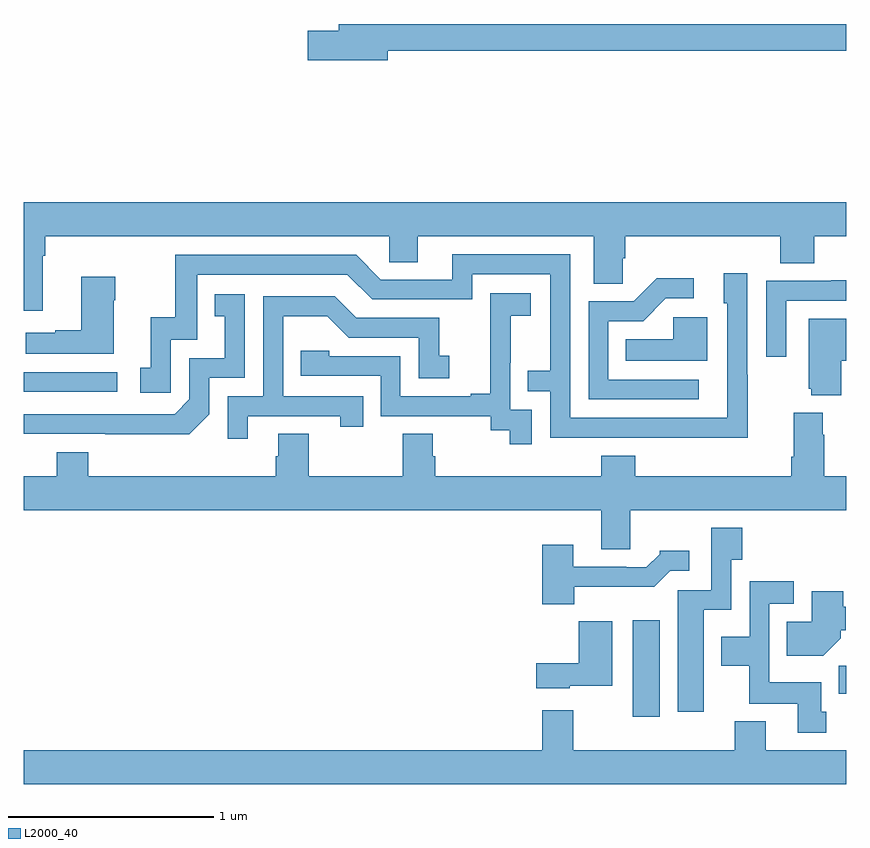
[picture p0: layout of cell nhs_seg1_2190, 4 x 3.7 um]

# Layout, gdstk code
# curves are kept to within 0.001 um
import gdstk
lib = gdstk.Library(unit=1e-6, precision=1e-09)
def R(c, l, rs):  # rectangles x0, y0, x1, y1
    for r in rs: c.add(gdstk.rectangle(r[:2], r[2:], *l))
def P(c, l, *ps):  # polygons
    for p in ps: c.add(gdstk.Polygon(p, *l))
L2000_40 = (2000, 40)

nhs_seg1_2190 = lib.new_cell('nhs_seg1_2190')
R(nhs_seg1_2190, L2000_40, [(231.962,574.704,232.093,575.173), (232.964,574.814,233,574.952), (229,576.282,229.456,576.378)])
P(nhs_seg1_2190, L2000_40, [(230.77,577.942),(233,577.942),(233,578.071),(230.531,578.071),(230.531,578.037),(230.382,578.037),(230.382,577.895),(230.77,577.895)],
  [(229.093,576.944),(229.106,576.944),(229.106,577.04),(230.778,577.04),(230.778,576.913),(230.917,576.913),(230.917,577.04),(231.773,577.04),(231.773,576.808),(231.912,576.808),(231.912,576.931),(231.926,576.931),(231.926,577.04),(232.679,577.04),(232.679,576.907),(232.844,576.907),(232.844,577.04),(233,577.04),(233,577.204),(229,577.204),(229,576.678),(229.093,576.678)],
  [(232.521,576.365),(232.518,576.365),(232.518,576.859),(232.403,576.859),(232.403,576.714),(232.422,576.714),(232.421,576.156),(231.657,576.156),(231.657,576.951),(231.083,576.951),(231.083,576.828),(230.736,576.828),(230.616,576.948),(229.737,576.948),(229.737,576.646),(229.619,576.646),(229.619,576.399),(229.566,576.399),(229.566,576.279),(229.716,576.279),(229.716,576.537),(229.845,576.537),(229.845,576.852),(230.574,576.852),(230.694,576.732),(231.18,576.732),(231.18,576.855),(231.561,576.855),(231.561,576.386),(231.451,576.386),(231.451,576.285),(231.561,576.285),(231.561,576.06),(232.521,576.059)],
  [(229.438,576.728),(229.446,576.728),(229.446,576.841),(229.28,576.841),(229.28,576.581),(229.154,576.581),(229.154,576.571),(229.011,576.571),(229.011,576.467),(229.438,576.467)],
  [(232.282,576.342),(231.843,576.342),(231.843,576.627),(232.012,576.627),(232.123,576.738),(232.258,576.738),(232.258,576.836),(232.079,576.836),(231.966,576.723),(231.747,576.723),(231.747,576.246),(232.282,576.246)],
  [(232.707,576.726),(233,576.726),(233,576.824),(232.927,576.824),(232.927,576.822),(232.611,576.822),(232.611,576.453),(232.707,576.453)],
  [(231.471,576.195),(231.366,576.195),(231.366,576.425),(231.368,576.425),(231.368,576.653),(231.466,576.653),(231.466,576.763),(231.268,576.763),(231.268,576.557),(231.269,576.557),(231.269,576.274),(231.173,576.274),(231.173,576.261),(230.832,576.261),(230.832,576.456),(230.487,576.456),(230.487,576.483),(230.347,576.483),(230.347,576.36),(230.736,576.36),(230.736,576.165),(231.27,576.165),(231.27,576.097),(231.363,576.097),(231.363,576.027),(231.471,576.027)],
  [(229.902,576.174),(229.902,576.351),(230.076,576.351),(230.076,576.757),(229.93,576.757),(229.93,576.651),(229.979,576.651),(229.979,576.447),(229.806,576.447),(229.806,576.246),(229.734,576.174),(229,576.174),(229,576.078),(229.804,576.077)],
  [(230.089,576.165),(230.54,576.165),(230.54,576.114),(230.651,576.114),(230.651,576.261),(230.262,576.261),(230.262,576.65),(230.476,576.65),(230.58,576.546),(230.922,576.546),(230.922,576.348),(231.07,576.348),(231.07,576.457),(231.021,576.457),(231.021,576.642),(230.617,576.642),(230.512,576.747),(230.166,576.747),(230.166,576.261),(229.992,576.261),(229.992,576.054),(230.089,576.054)],
  [(232.324,576.646),(232.159,576.646),(232.159,576.538),(231.928,576.538),(231.928,576.434),(232.324,576.434)],
  [(232.975,576.434),(233,576.434),(233,576.637),(232.817,576.637),(232.817,576.297),(232.829,576.297),(232.829,576.266),(232.975,576.266)],
  [(231.949,575.708),(233,575.708),(233,575.872),(232.893,575.872),(232.893,576.074),(232.885,576.074),(232.885,576.181),(232.745,576.181),(232.745,575.968),(232.733,575.968),(232.733,575.872),(231.974,575.872),(231.974,575.971),(231.809,575.971),(231.809,575.872),(231.002,575.872),(231.002,575.97),(230.989,575.97),(230.989,576.08),(230.842,576.08),(230.842,575.872),(230.385,575.872),(230.385,576.08),(230.237,576.08),(230.237,575.97),(230.225,575.97),(230.225,575.872),(229.313,575.872),(229.313,575.989),(229.16,575.989),(229.16,575.872),(229,575.872),(229,575.708),(231.809,575.708),(231.809,575.518),(231.949,575.518)],
  [(232.306,575.222),(232.44,575.222),(232.44,575.467),(232.493,575.467),(232.493,575.623),(232.344,575.623),(232.344,575.319),(232.181,575.319),(232.181,574.728),(232.306,574.728)],
  [(231.676,575.334),(232.065,575.334),(232.143,575.412),(232.237,575.412),(232.237,575.509),(232.092,575.509),(232.092,575.494),(232.028,575.43),(231.929,575.43),(231.929,575.433),(231.673,575.433),(231.673,575.539),(231.521,575.539),(231.521,575.249),(231.676,575.249)],
  [(232.903,574.728),(232.879,574.728),(232.879,574.87),(232.626,574.87),(232.626,575.253),(232.744,575.253),(232.744,575.362),(232.53,575.362),(232.53,575.092),(232.391,575.092),(232.391,574.952),(232.528,574.952),(232.528,574.766),(232.763,574.766),(232.763,574.626),(232.903,574.626)],
  [(232.972,575.085),(232.972,575.124),(232.998,575.124),(232.998,575.238),(232.985,575.238),(232.985,575.314),(232.832,575.314),(232.832,575.164),(232.711,575.164),(232.711,575),(232.888,575)],
  [(231.654,574.853),(231.862,574.853),(231.862,575.167),(231.7,575.167),(231.7,574.963),(231.492,574.963),(231.492,574.841),(231.654,574.841)],
  [(233,574.54),(232.609,574.54),(232.609,574.681),(232.457,574.681),(232.457,574.54),(231.673,574.54),(231.673,574.735),(231.521,574.735),(231.521,574.54),(229,574.54),(229,574.376),(233,574.376)])

lib.write_gds('nhs_seg1_2190.gds')
